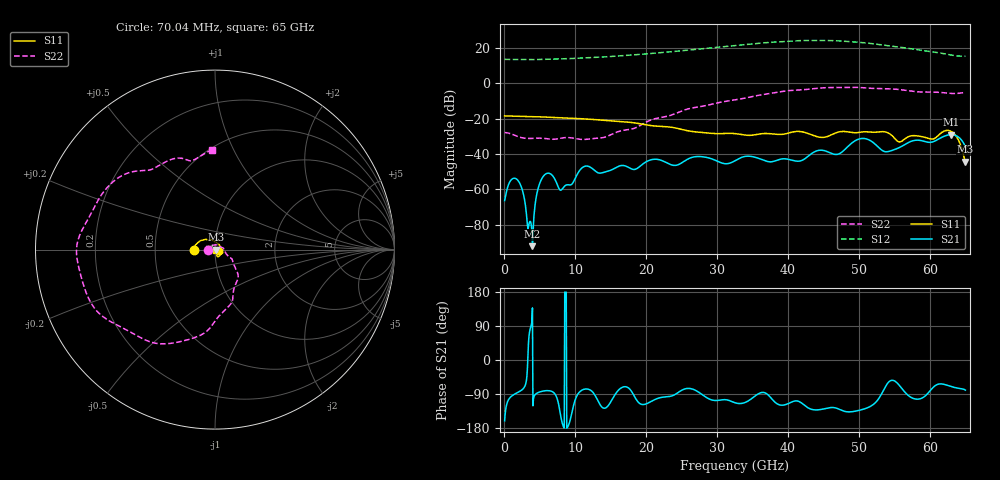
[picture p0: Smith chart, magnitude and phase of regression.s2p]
! File created by SignalIntegrity v1.5.1: Signal and Power Integrity Tools
! https://github.com/Nubis-Communications/SignalIntegrity
# MHz S MA R 50.0
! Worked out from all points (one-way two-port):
!   928 points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, 70.04 MHz to 65 GHz, reference 50 ohm
!   highest |S21| = -29.04 dB at 62.97 GHz (marker M1); lowest = -92.0 dB at 3.992 GHz (marker M2)
!   lowest |S11| = -44.4 dB at 65 GHz (marker M3), VSWR 1.01, Z = 50.6 - j0.00588 ohm
!   |S11| at or under -10 dB: start of sweep to end of sweep
!   |S22| runs from -31.8 to -2.2 dB; largest |S21 - S12| = 16
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70.0431  0.1191 179.9  0.000483 -160.4  4.715 179.5  0.04044 179.5
3992.457  0.1136 169.7  2.5e-05 137.5  4.655 152.0  0.02768 154.0
5673.491  0.1113 166.3  0.002547 -81.4  4.739 140.0  0.02771 162.7
10926.72  0.09946 153.4  0.003989 -80.0  5.157 102.4  0.02593 104.7
16810.34  0.08152 136.2  0.004742 -71.0  6.062 58.4  0.04683 10.8
21713.36  0.06094 116.5  0.007015 -100.9  7.236 18.8  0.1041 -28.2
27456.9  0.0414 83.7  0.00852 -85.4  9.251 -32.4  0.2155 -55.7
30048.49  0.03773 67.6  0.006282 -106.7  10.38 -57.8  0.2786 -68.9
32570.04  0.03775 52.1  0.006539 -113.0  11.64 -83.4  0.338 -79.9
35231.68  0.03473 24.7  0.008253 -96.9  13.05 -112.6  0.4346 -93.3
37403.02  0.03773 13.0  0.006026 -95.8  14.23 -137.7  0.5128 -104.8
40695.04  0.04211 -13.9  0.006578 -109.6  15.73 -178.6  0.6316 -126.2
43356.68  0.03467 -0.8  0.01042 -130.4  16.16 146.7  0.6926 -143.1
45738.15  0.03234 -12.6  0.01126 -126.3  16.12 115.0  0.754 -158.1
47909.48  0.04344 -28.4  0.01284 -135.2  15.37 86.5  0.7653 -172.5
50991.38  0.04262 -4.7  0.02694 -127.6  13.75 45.8  0.7359 168.7
54213.36  0.03864 -72.6  0.01187 -57.7  11.45 6.6  0.6957 151.1
56244.61  0.0247 -21.4  0.01751 -79.8  10.17 -17.6  0.6426 138.1
58626.08  0.03172 -49.8  0.0243 -102.4  8.622 -43.3  0.5679 127.7
60657.33  0.02765 -33.1  0.02309 -68.9  7.615 -66.4  0.5598 117.2
62968.75  0.04385 -30.9  0.03531 -69.9  6.254 -87.7  0.5146 105.9
65000  0.006029 -0.6  0.01586 -79.4  5.777 -104.5  0.5566 91.9
